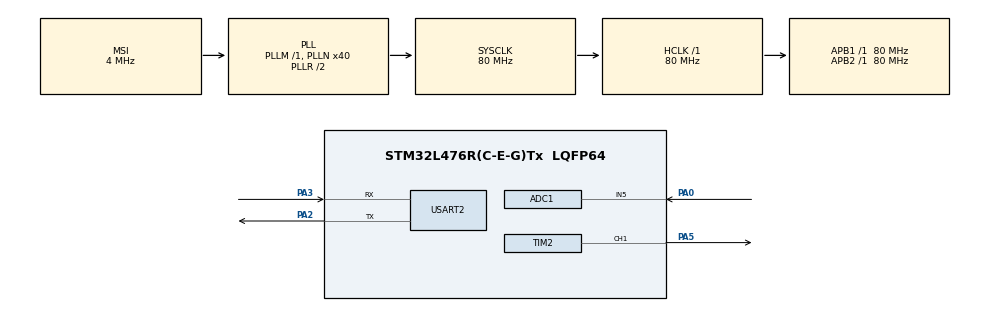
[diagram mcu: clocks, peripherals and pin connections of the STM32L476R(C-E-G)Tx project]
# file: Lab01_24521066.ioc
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ADC1.Channel-0\#ChannelRegularConversion=ADC_CHANNEL_5
ADC1.ClockPrescaler=ADC_CLOCK_SYNC_PCLK_DIV4
ADC1.DMAContinuousRequests=ENABLE
ADC1.EnableAnalogWatchDog1=false
ADC1.EnableAnalogWatchDog2=false
ADC1.EnableAnalogWatchDog3=false
ADC1.ExternalTrigConv=ADC_EXTERNALTRIG_T6_TRGO
ADC1.NbrOfConversionFlag=1
ADC1.OffsetNumber-0\#ChannelRegularConversion=ADC_OFFSET_NONE
ADC1.Overrun=ADC_OVR_DATA_OVERWRITTEN
ADC1.Rank-0\#ChannelRegularConversion=1
ADC1.SamplingTime-0\#ChannelRegularConversion=ADC_SAMPLETIME_247CYCLES_5
ADC1.master=1
Dma.ADC1.0.Direction=DMA_PERIPH_TO_MEMORY
Dma.ADC1.0.Instance=DMA1_Channel1
Dma.ADC1.0.MemDataAlignment=DMA_MDATAALIGN_HALFWORD
Dma.ADC1.0.MemInc=DMA_MINC_ENABLE
Dma.ADC1.0.Mode=DMA_CIRCULAR
Dma.ADC1.0.PeriphDataAlignment=DMA_PDATAALIGN_HALFWORD
Dma.ADC1.0.PeriphInc=DMA_PINC_DISABLE
Dma.ADC1.0.Priority=DMA_PRIORITY_LOW
Dma.Request0=ADC1
Mcu.Family=STM32L4
Mcu.Name=STM32L476R(C-E-G)Tx
Mcu.Package=LQFP64
NVIC.ADC1_2_IRQn=true\:3\:0\:true\:false\:true\:true\:true\:true
NVIC.DMA1_Channel1_IRQn=true\:2\:0\:true\:false\:true\:false\:true\:true
NVIC.PriorityGroup=NVIC_PRIORITYGROUP_4
NVIC.TIM6_DAC_IRQn=true\:1\:0\:true\:false\:true\:true\:true\:true
PA0.Signal=ADCx_IN5
PA2.Mode=Asynchronous
PA2.Signal=USART2_TX
PA3.Mode=Asynchronous
PA3.Signal=USART2_RX
PA5.Signal=S_TIM2_CH1
ProjectManager.HeapSize=0x200
ProjectManager.StackSize=0x400
ProjectManager.TargetToolchain=STM32CubeIDE
RCC.AHBFreq_Value=80000000
RCC.APB1Freq_Value=80000000
RCC.APB1TimFreq_Value=80000000
RCC.APB2Freq_Value=80000000
RCC.APB2TimFreq_Value=80000000
RCC.CortexFreq_Value=80000000
RCC.HCLKFreq_Value=80000000
RCC.HSE_VALUE=8000000
RCC.HSI_VALUE=16000000
RCC.LSE_VALUE=32768
RCC.MSI_VALUE=4000000
RCC.PLLN=40
RCC.SYSCLKFreq_VALUE=80000000
RCC.SYSCLKSource=RCC_SYSCLKSOURCE_PLLCLK
RCC.VCOOutputFreq_Value=160000000
SH.ADCx_IN5.0=ADC1_IN5,IN5-Single-Ended
SH.S_TIM2_CH1.0=TIM2_CH1,PWM Generation1 CH1
TIM2.AutoReloadPreload=TIM_AUTORELOAD_PRELOAD_ENABLE
TIM2.Channel-PWM\ Generation1\ CH1=TIM_CHANNEL_1
TIM2.Period=999
TIM2.Prescaler=15
TIM5.Prescaler=79
TIM6.AutoReloadPreload=TIM_AUTORELOAD_PRELOAD_ENABLE
TIM6.Period=9999
TIM6.Prescaler=79
TIM6.TIM_MasterOutputTrigger=TIM_TRGO_UPDATE
USART2.VirtualMode-Asynchronous=VM_ASYNC
VP_TIM2_VS_ClockSourceINT.Mode=Internal
VP_TIM5_VS_ClockSourceINT.Mode=Internal
VP_TIM6_VS_ClockSourceINT.Mode=Enable_Timer
board=custom

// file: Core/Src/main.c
/* USER CODE BEGIN Header */
/**
  ******************************************************************************
  * @file           : main.c
  * @brief          : Main program body
  ******************************************************************************
  * @attention
  *
  * Copyright (c) 2026 STMicroelectronics.
  * All rights reserved.
  *
  * This software is licensed under terms that can be found in the LICENSE file
  * in the root directory of this software component.
  * If no LICENSE file comes with this software, it is provided AS-IS.
  *
  ******************************************************************************
  */
/* USER CODE END Header */
#include "main.h"

/* USER CODE BEGIN Includes */
#include <stdio.h>
/* USER CODE END Includes */

ADC_HandleTypeDef hadc1;
DMA_HandleTypeDef hdma_adc1;

TIM_HandleTypeDef htim2;
TIM_HandleTypeDef htim5;
TIM_HandleTypeDef htim6;

UART_HandleTypeDef huart2;

/* USER CODE BEGIN PV */
volatile uint16_t adc_buf[1];        // DMA ghi kết quả ADC vào đây
volatile uint32_t t_tick_us = 0;     // timestamp lúc TIM6 tràn (lấy trong ISR)
volatile uint32_t t_done_us = 0;     // timestamp lúc ADC + DMA xong
volatile uint16_t adc_raw = 0;
volatile uint8_t  sample_ready = 0;
volatile uint32_t missed = 0;        // số mẫu main chưa kịp xử lý
/* USER CODE END PV */

void SystemClock_Config(void);
static void MX_GPIO_Init(void);
static void MX_DMA_Init(void);
static void MX_ADC1_Init(void);
static void MX_TIM2_Init(void);
static void MX_TIM5_Init(void);
static void MX_TIM6_Init(void);
static void MX_USART2_UART_Init(void);

/* USER CODE BEGIN 0 */
// Ngắt TIM6: 100 Hz
void HAL_TIM_PeriodElapsedCallback(TIM_HandleTypeDef *htim)
{
  if (htim->Instance == TIM6) {
    t_tick_us = __HAL_TIM_GET_COUNTER(&htim5);
  }
}

// ADC (kích bởi TRGO của TIM6) + DMA xong 1 mẫu
void HAL_ADC_ConvCpltCallback(ADC_HandleTypeDef *hadc)
{
  if (hadc->Instance == ADC1) {
    t_done_us = __HAL_TIM_GET_COUNTER(&htim5);
    adc_raw   = adc_buf[0];
    if (sample_ready) missed++;
    sample_ready = 1;
  }
}
/* USER CODE END 0 */

int main(void)
{

  /* MCU Configuration--------------------------------------------------------*/

  /* Reset of all peripherals, Initializes the Flash interface and the Systick. */
  HAL_Init();

  /* Configure the system clock */
  SystemClock_Config();

  /* Initialize all configured peripherals */
  MX_GPIO_Init();
  MX_DMA_Init();
  MX_ADC1_Init();
  MX_TIM2_Init();
  MX_TIM5_Init();
  MX_TIM6_Init();
  MX_USART2_UART_Init();
  /* USER CODE BEGIN 2 */
  HAL_ADCEx_Calibration_Start(&hadc1, ADC_SINGLE_ENDED);   // L4 nên hiệu chuẩn ADC
  HAL_TIM_PWM_Start(&htim2, TIM_CHANNEL_1);
  HAL_TIM_Base_Start(&htim5);                              // thước đo µs
  HAL_ADC_Start_DMA(&hadc1, (uint32_t *)adc_buf, 1);       // ADC chờ trigger từ TIM6
  HAL_TIM_Base_Start_IT(&htim6);                           // bắt đầu nhịp 100 Hz

    uint32_t seq = 0;
    float ema = 0.0f;
    uint8_t first = 1;
    char line[64];
  /* USER CODE END 2 */

  /* Infinite loop */
  while (1)
  {

    /* USER CODE BEGIN 3 */
	  if (sample_ready) {
	       __disable_irq();
	       uint32_t t0 = t_tick_us, t1 = t_done_us;
	       uint16_t raw = adc_raw;
	       sample_ready = 0;
	       __enable_irq();

	       // 1) Lọc EMA cho mượt
	       if (first) { ema = raw; first = 0; }
	       else       { ema += 0.25f * ((float)raw - ema); }

	       // 2) Hiệu chỉnh gamma ≈ 2 (mắt cảm nhận độ sáng phi tuyến)
	       float x = ema / 4095.0f;
	       uint32_t duty = (uint32_t)(x * x * 1000.0f);
	       __HAL_TIM_SET_COMPARE(&htim2, TIM_CHANNEL_1, duty);

	       // 3) Gửi: seq, t_tick (µs), độ trễ ADC (µs), raw, filtered
	       int n = snprintf(line, sizeof(line), "%lu,%lu,%lu,%u,%u\r\n",
	                        (unsigned long)seq++, (unsigned long)t0,
	                        (unsigned long)(t1 - t0), raw, (unsigned)(ema + 0.5f));
	       HAL_UART_Transmit(&huart2, (uint8_t *)line, n, 10);
	     }
  }
  /* USER CODE END 3 */
}

void SystemClock_Config(void)
{
  RCC_OscInitTypeDef RCC_OscInitStruct = {0};
  RCC_ClkInitTypeDef RCC_ClkInitStruct = {0};

  /** Configure the main internal regulator output voltage
  */
  if (HAL_PWREx_ControlVoltageScaling(PWR_REGULATOR_VOLTAGE_SCALE1) != HAL_OK)
  {
    Error_Handler();
  }

  /** Initializes the RCC Oscillators according to the specified parameters
  * in the RCC_OscInitTypeDef structure.
  */
  RCC_OscInitStruct.OscillatorType = RCC_OSCILLATORTYPE_MSI;
  RCC_OscInitStruct.MSIState = RCC_MSI_ON;
  RCC_OscInitStruct.MSICalibrationValue = 0;
  RCC_OscInitStruct.MSIClockRange = RCC_MSIRANGE_6;
  RCC_OscInitStruct.PLL.PLLState = RCC_PLL_ON;
  RCC_OscInitStruct.PLL.PLLSource = RCC_PLLSOURCE_MSI;
  RCC_OscInitStruct.PLL.PLLM = 1;
  RCC_OscInitStruct.PLL.PLLN = 40;
  RCC_OscInitStruct.PLL.PLLP = RCC_PLLP_DIV7;
  RCC_OscInitStruct.PLL.PLLQ = RCC_PLLQ_DIV2;
  RCC_OscInitStruct.PLL.PLLR = RCC_PLLR_DIV2;
  if (HAL_RCC_OscConfig(&RCC_OscInitStruct) != HAL_OK)
  {
    Error_Handler();
  }

  /** Initializes the CPU, AHB and APB buses clocks
  */
  RCC_ClkInitStruct.ClockType = RCC_CLOCKTYPE_HCLK|RCC_CLOCKTYPE_SYSCLK
                              |RCC_CLOCKTYPE_PCLK1|RCC_CLOCKTYPE_PCLK2;
  RCC_ClkInitStruct.SYSCLKSource = RCC_SYSCLKSOURCE_PLLCLK;
  RCC_ClkInitStruct.AHBCLKDivider = RCC_SYSCLK_DIV1;
  RCC_ClkInitStruct.APB1CLKDivider = RCC_HCLK_DIV1;
  RCC_ClkInitStruct.APB2CLKDivider = RCC_HCLK_DIV1;

  if (HAL_RCC_ClockConfig(&RCC_ClkInitStruct, FLASH_LATENCY_4) != HAL_OK)
  {
    Error_Handler();
  }
}

static void MX_ADC1_Init(void)
{

  ADC_MultiModeTypeDef multimode = {0};
  ADC_ChannelConfTypeDef sConfig = {0};

  /** Common config
  */
  hadc1.Instance = ADC1;
  hadc1.Init.ClockPrescaler = ADC_CLOCK_SYNC_PCLK_DIV4;
  hadc1.Init.Resolution = ADC_RESOLUTION_12B;
  hadc1.Init.DataAlign = ADC_DATAALIGN_RIGHT;
  hadc1.Init.ScanConvMode = ADC_SCAN_DISABLE;
  hadc1.Init.EOCSelection = ADC_EOC_SINGLE_CONV;
  hadc1.Init.LowPowerAutoWait = DISABLE;
  hadc1.Init.ContinuousConvMode = DISABLE;
  hadc1.Init.NbrOfConversion = 1;
  hadc1.Init.DiscontinuousConvMode = DISABLE;
  hadc1.Init.ExternalTrigConv = ADC_EXTERNALTRIG_T6_TRGO;
  hadc1.Init.ExternalTrigConvEdge = ADC_EXTERNALTRIGCONVEDGE_RISING;
  hadc1.Init.DMAContinuousRequests = ENABLE;
  hadc1.Init.Overrun = ADC_OVR_DATA_OVERWRITTEN;
  hadc1.Init.OversamplingMode = DISABLE;
  if (HAL_ADC_Init(&hadc1) != HAL_OK)
  {
    Error_Handler();
  }

  /** Configure the ADC multi-mode
  */
  multimode.Mode = ADC_MODE_INDEPENDENT;
  if (HAL_ADCEx_MultiModeConfigChannel(&hadc1, &multimode) != HAL_OK)
  {
    Error_Handler();
  }

  /** Configure Regular Channel
  */
  sConfig.Channel = ADC_CHANNEL_5;
  sConfig.Rank = ADC_REGULAR_RANK_1;
  sConfig.SamplingTime = ADC_SAMPLETIME_247CYCLES_5;
  sConfig.SingleDiff = ADC_SINGLE_ENDED;
  sConfig.OffsetNumber = ADC_OFFSET_NONE;
  sConfig.Offset = 0;
  if (HAL_ADC_ConfigChannel(&hadc1, &sConfig) != HAL_OK)
  {
    Error_Handler();
  }

}

static void MX_TIM2_Init(void)
{

  TIM_ClockConfigTypeDef sClockSourceConfig = {0};
  TIM_MasterConfigTypeDef sMasterConfig = {0};
  TIM_OC_InitTypeDef sConfigOC = {0};

  htim2.Instance = TIM2;
  htim2.Init.Prescaler = 15;
  htim2.Init.CounterMode = TIM_COUNTERMODE_UP;
  htim2.Init.Period = 999;
  htim2.Init.ClockDivision = TIM_CLOCKDIVISION_DIV1;
  htim2.Init.AutoReloadPreload = TIM_AUTORELOAD_PRELOAD_ENABLE;
  if (HAL_TIM_Base_Init(&htim2) != HAL_OK)
  {
    Error_Handler();
  }
  sClockSourceConfig.ClockSource = TIM_CLOCKSOURCE_INTERNAL;
  if (HAL_TIM_ConfigClockSource(&htim2, &sClockSourceConfig) != HAL_OK)
  {
    Error_Handler();
  }
  if (HAL_TIM_PWM_Init(&htim2) != HAL_OK)
  {
    Error_Handler();
  }
  sMasterConfig.MasterOutputTrigger = TIM_TRGO_RESET;
  sMasterConfig.MasterSlaveMode = TIM_MASTERSLAVEMODE_DISABLE;
  if (HAL_TIMEx_MasterConfigSynchronization(&htim2, &sMasterConfig) != HAL_OK)
  {
    Error_Handler();
  }
  sConfigOC.OCMode = TIM_OCMODE_PWM1;
  sConfigOC.Pulse = 0;
  sConfigOC.OCPolarity = TIM_OCPOLARITY_HIGH;
  sConfigOC.OCFastMode = TIM_OCFAST_DISABLE;
  if (HAL_TIM_PWM_ConfigChannel(&htim2, &sConfigOC, TIM_CHANNEL_1) != HAL_OK)
  {
    Error_Handler();
  }
  HAL_TIM_MspPostInit(&htim2);

}

static void MX_TIM5_Init(void)
{

  TIM_ClockConfigTypeDef sClockSourceConfig = {0};
  TIM_MasterConfigTypeDef sMasterConfig = {0};

  htim5.Instance = TIM5;
  htim5.Init.Prescaler = 79;
  htim5.Init.CounterMode = TIM_COUNTERMODE_UP;
  htim5.Init.Period = 4294967295;
  htim5.Init.ClockDivision = TIM_CLOCKDIVISION_DIV1;
  htim5.Init.AutoReloadPreload = TIM_AUTORELOAD_PRELOAD_DISABLE;
  if (HAL_TIM_Base_Init(&htim5) != HAL_OK)
  {
    Error_Handler();
  }
  sClockSourceConfig.ClockSource = TIM_CLOCKSOURCE_INTERNAL;
  if (HAL_TIM_ConfigClockSource(&htim5, &sClockSourceConfig) != HAL_OK)
  {
    Error_Handler();
  }
  sMasterConfig.MasterOutputTrigger = TIM_TRGO_RESET;
  sMasterConfig.MasterSlaveMode = TIM_MASTERSLAVEMODE_DISABLE;
  if (HAL_TIMEx_MasterConfigSynchronization(&htim5, &sMasterConfig) != HAL_OK)
  {
    Error_Handler();
  }

}

static void MX_TIM6_Init(void)
{

  TIM_MasterConfigTypeDef sMasterConfig = {0};

  htim6.Instance = TIM6;
  htim6.Init.Prescaler = 79;
  htim6.Init.CounterMode = TIM_COUNTERMODE_UP;
  htim6.Init.Period = 9999;
  htim6.Init.AutoReloadPreload = TIM_AUTORELOAD_PRELOAD_ENABLE;
  if (HAL_TIM_Base_Init(&htim6) != HAL_OK)
  {
    Error_Handler();
  }
  sMasterConfig.MasterOutputTrigger = TIM_TRGO_UPDATE;
  sMasterConfig.MasterSlaveMode = TIM_MASTERSLAVEMODE_DISABLE;
  if (HAL_TIMEx_MasterConfigSynchronization(&htim6, &sMasterConfig) != HAL_OK)
  {
    Error_Handler();
  }

}

static void MX_USART2_UART_Init(void)
{

  huart2.Instance = USART2;
  huart2.Init.BaudRate = 115200;
  huart2.Init.WordLength = UART_WORDLENGTH_8B;
  huart2.Init.StopBits = UART_STOPBITS_1;
  huart2.Init.Parity = UART_PARITY_NONE;
  huart2.Init.Mode = UART_MODE_TX_RX;
  huart2.Init.HwFlowCtl = UART_HWCONTROL_NONE;
  huart2.Init.OverSampling = UART_OVERSAMPLING_16;
  huart2.Init.OneBitSampling = UART_ONE_BIT_SAMPLE_DISABLE;
  huart2.AdvancedInit.AdvFeatureInit = UART_ADVFEATURE_NO_INIT;
  if (HAL_UART_Init(&huart2) != HAL_OK)
  {
    Error_Handler();
  }

}

static void MX_DMA_Init(void)
{

  /* DMA controller clock enable */
  __HAL_RCC_DMA1_CLK_ENABLE();

  /* DMA interrupt init */
  /* DMA1_Channel1_IRQn interrupt configuration */
  HAL_NVIC_SetPriority(DMA1_Channel1_IRQn, 2, 0);
  HAL_NVIC_EnableIRQ(DMA1_Channel1_IRQn);

}

static void MX_GPIO_Init(void)
{

  /* GPIO Ports Clock Enable */
  __HAL_RCC_GPIOA_CLK_ENABLE();

}

void Error_Handler(void)
{
  __disable_irq();
  while (1)
  {
  }
}
